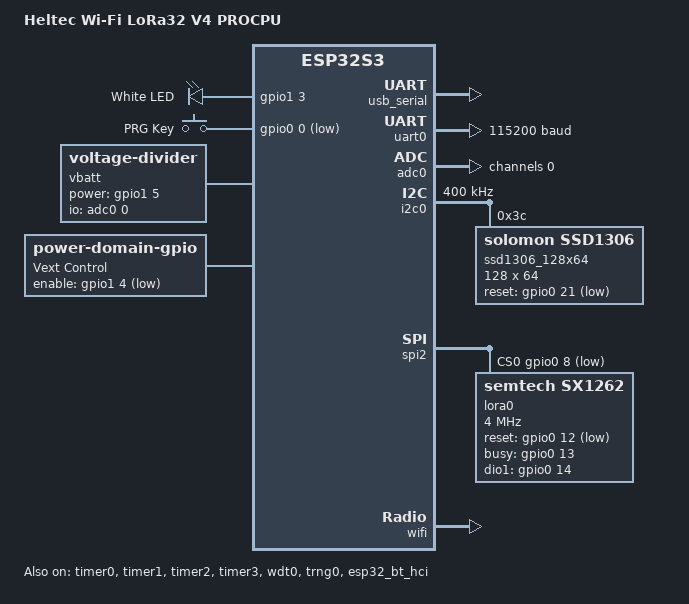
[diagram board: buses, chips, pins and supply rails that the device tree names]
/*
 * Heltec WiFi LoRa 32 (V4), PROCPU.
 *
 * Derived from Zephyr's heltec_wifi_lora32_v3. What differs on the V4:
 *
 *   - SoC is an ESP32-S3R2 (2 MB in-package quad PSRAM) with a 16 MB external
 *     quad flash, instead of the V3's ESP32-S3FN8.
 *   - USB-C goes straight to the S3's USB-Serial-JTAG (GPIO19/20, VID 303A),
 *     not through a CP2102, so the console is usb_serial rather than uart0.
 *   - ADC_Ctrl (GPIO37) is active HIGH, as MeshCore's heltec_v4 variant
 *     drives it (the V3 is active LOW).
 *   - Vext_Ctrl (GPIO36) is still active LOW, as on the V3 - measured on a
 *     V4.2: driven high, the SSD1306 does not ACK (-ETIMEDOUT); driven low it
 *     comes up. MeshCore's heltec_v4 variant has PIN_VEXT_EN_ACTIVE=HIGH,
 *     which does not match this board.
 *   - The LoRa path has a front-end module (GC1109 / KCT8103L) on GPIO7
 *     (LDO enable), GPIO2 (CSD) and GPIO46 (CPS). Not described here; the
 *     pins are left at their reset state, which keeps the FEM unpowered.
 *
 * Pins verified against MeshCore variants/heltec_v4 and checked on a V4.2
 * board with esptool (ESP32-S3 QFN56 rev v0.2, 2 MB PSRAM, 16 MB flash).
 *
 * SPDX-License-Identifier: Apache-2.0
 */
/dts-v1/;

#include <espressif/esp32s3/esp32s3_r2.dtsi>
#include "heltec_wifi_lora32_v4-pinctrl.dtsi"
#include <zephyr/dt-bindings/adc/adc.h>
#include <zephyr/dt-bindings/input/input-event-codes.h>
#include <zephyr/dt-bindings/lora/sx126x.h>
#include <espressif/partitions_0x0_amp_16M.dtsi>

/ {
	model = "Heltec Wi-Fi LoRa32 V4 PROCPU";
	compatible = "espressif,esp32s3";

	aliases {
		led0 = &led0;
		uart-0 = &uart0;
		i2c-0 = &i2c0;
		lora0 = &lora0;
		sw0 = &button0;
		watchdog0 = &wdt0;
	};

	leds {
		compatible = "gpio-leds";

		led0: led {
			gpios = <&gpio1 3 GPIO_ACTIVE_HIGH>;	/* GPIO35 */
			label = "White LED";
		};
	};

	buttons {
		compatible = "gpio-keys";

		button0: button_0 {
			gpios = <&gpio0 0 (GPIO_PULL_UP | GPIO_ACTIVE_LOW)>;
			label = "PRG Key";
			zephyr,code = <INPUT_KEY_0>;
		};
	};

	/* VBAT -> 390k -> GPIO1 (ADC1_CH0) -> 100k -> switched GND (ADC_Ctrl).
	 *
	 * ADC1 is &adc0: Zephyr numbers the ESP32-S3's SAR units from zero
	 * (adc0 = unit 1, adc1 = unit 2). &adc1 channel 0 is ADC2_CH0, which is
	 * GPIO11 - the LoRa MISO line, idling at ~0.6 V - and is what the V3
	 * board this was derived from reads. */
	vbatt: vbatt {
		compatible = "voltage-divider";
		io-channels = <&adc0 0>;
		output-ohms = <100000>;
		full-ohms = <(100000 + 390000)>;
		power-gpios = <&gpio1 5 GPIO_ACTIVE_HIGH>;	/* GPIO37, ADC_Ctrl */
		power-on-sample-delay-us = <10000>;
		/* adc_esp32 rejects sequence.calibrate with -ENOTSUP; the driver
		 * applies the eFuse calibration on its own. */
		skip-calibration;
	};

	vext_ctrl: vext_ctrl {
		compatible = "power-domain-gpio";
		enable-gpios = <&gpio1 4 GPIO_ACTIVE_LOW>;	/* GPIO36 */
		#power-domain-cells = <0>;
		label = "Vext Control";
	};

	chosen {
		zephyr,sram = &sram1;
		zephyr,console = &usb_serial;
		zephyr,shell-uart = &usb_serial;
		zephyr,flash = &flash0;
		zephyr,code-partition = &slot0_partition;
		zephyr,bt-hci = &esp32_bt_hci;
		zephyr,display = &ssd1306_128x64;
	};
};

&flash0 {
	reg = <0x0 DT_SIZE_M(16)>;
};

&usb_serial {
	status = "okay";
};

&uart0 {
	status = "okay";
	current-speed = <115200>;
	pinctrl-0 = <&uart0_default>;
	pinctrl-names = "default";
};

&gpio0 {
	status = "okay";
};

&gpio1 {
	status = "okay";
};

&adc0 {
	status = "okay";
	#address-cells = <1>;
	#size-cells = <0>;

	channel@0 {
		reg = <0>;
		zephyr,gain = "ADC_GAIN_1_4";
		zephyr,reference = "ADC_REF_INTERNAL";
		zephyr,acquisition-time = <ADC_ACQ_TIME_DEFAULT>;
		zephyr,resolution = <12>;
	};
};

&i2c0 {
	status = "okay";
	clock-frequency = <I2C_BITRATE_FAST>;
	pinctrl-0 = <&i2c0_default>;
	pinctrl-names = "default";

	ssd1306_128x64: display-controller@3c {
		compatible = "solomon,ssd1306";
		reg = <0x3c>;
		width = <128>;
		height = <64>;
		segment-offset = <0>;
		page-offset = <0>;
		display-offset = <0>;
		multiplex-ratio = <63>;
		segment-remap;
		com-invdir;
		inversion-on;
		prechargep = <0x22>;
		reset-gpios = <&gpio0 21 GPIO_ACTIVE_LOW>;
		power-domains = <&vext_ctrl>;
	};
};

&spi2 {
	#address-cells = <1>;
	#size-cells = <0>;
	status = "okay";
	pinctrl-0 = <&spim2_default>;
	pinctrl-names = "default";

	cs-gpios = <&gpio0 8 GPIO_ACTIVE_LOW>;

	lora0: modem@0 {
		compatible = "semtech,sx1262";
		reg = <0>;
		reset-gpios = <&gpio0 12 (GPIO_OPEN_DRAIN | GPIO_ACTIVE_LOW)>;
		busy-gpios = <&gpio0 13 GPIO_ACTIVE_HIGH>;
		dio1-gpios = <&gpio0 14 GPIO_ACTIVE_HIGH>;
		dio2-tx-enable;
		dio3-tcxo-voltage = <SX126X_DIO3_TCXO_1V8>;
		tcxo-power-startup-delay-ms = <5>;
		spi-max-frequency = <4000000>;
	};
};

&timer0 {
	status = "okay";
};

&timer1 {
	status = "okay";
};

&timer2 {
	status = "okay";
};

&timer3 {
	status = "okay";
};

&wdt0 {
	status = "okay";
};

&trng0 {
	status = "okay";
};

&esp32_bt_hci {
	status = "okay";
};

&wifi {
	status = "okay";
};
